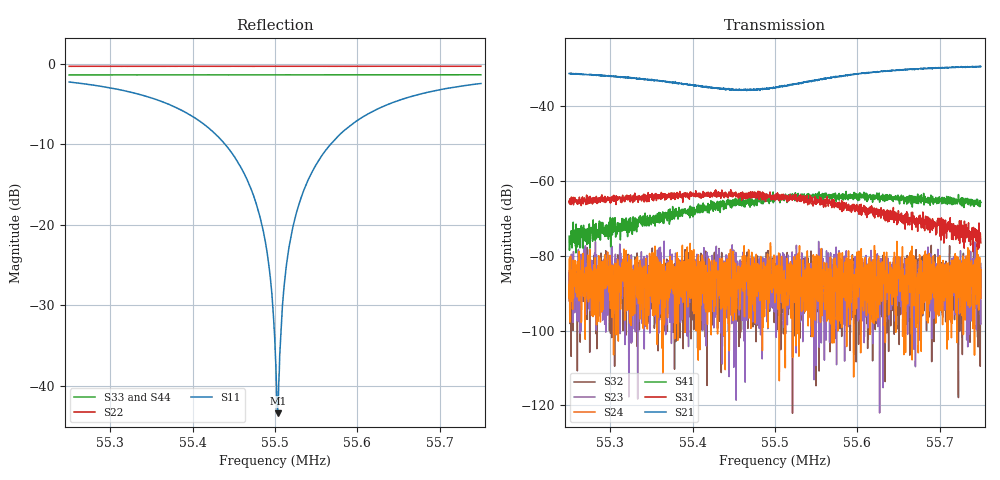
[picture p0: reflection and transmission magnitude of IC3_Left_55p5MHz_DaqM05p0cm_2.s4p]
#  HZ  S  DB  R  50.00
! Rohde & Schwarz Vector Network Analyzer
! Rohde-Schwarz,ZNB8-4Port,1311601044102961,2.82
! Created: UTC 2/13/2019, 9:23:45 AM
! freq[Hz]  db:S11  ang:S11  db:S12  ang:S12  db:S13  ang:S13  db:S14  ang:S14
!  db:S21  ang:S21  db:S22  ang:S22  db:S23  ang:S23  db:S24  ang:S24
!  db:S31  ang:S31  db:S32  ang:S32  db:S33  ang:S33  db:S34  ang:S34
!  db:S41  ang:S41  db:S42  ang:S42  db:S43  ang:S43  db:S44  ang:S44
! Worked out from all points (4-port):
!   2001 points, 55.25 MHz to 55.75 MHz, reference 50 ohm
!   strongest paths, dB at 55.25 MHz, 55.375 MHz, 55.5 MHz, 55.625 MHz, 55.75 MHz:
!     S21: -31.2, -33.6, -35.0, -30.8, -29.3
!     S31: -65.8, -64.2, -65.0, -69.5, -76.5
!     S41: -74.8, -70.2, -64.4, -65.0, -65.7
!     S24: -87.7, -85.0, -86.7, -96.5, -91.4
!     S23: -86.3, -79.5, -88.5, -98.9, -82.0
!     S32: -92.0, -88.8, -84.3, -93.3, -83.7
!   lowest |S11| = -43.4 dB at 55.5033 MHz (marker M1), VSWR 1.01, Z = 49.6 - j0.575 ohm
!   |S11| at or under -10 dB: 55.43935 MHz to 55.5675 MHz (128.1 kHz wide, 0.231 % of centre)
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5.525e7  -2.27 -141.8  -31.17 70.5  -65.18 -153.7  -72.74 0.5
         -31.23 71.4  -0.32 94.2  -86.33 147.5  -87.74 47.1
         -65.81 -153.1  -92.03 108.2  -1.39 34.9  -89.69 -30.0
         -74.75 -14.0  -87.04 106.8  -95.98 21.5  -1.38 28.5
5.544925e7  -11.33 169.2  -35.49 79.4  -63.99 161.8  -65.60 -45.4
            -35.44 79.3  -0.32 90.6  -80.48 -40.3  -97.28 -147.0
            -64.14 159.0  -87.48 22.0  -1.38 32.5  -87.80 179.9
            -65.03 -35.2  -83.70 60.1  -84.05 115.1  -1.37 26.0
5.548675e7  -21.31 158.6  -35.31 91.6  -63.58 148.3  -64.49 -62.3
            -35.19 91.3  -0.32 89.9  -83.01 -62.2  -85.37 16.2
            -63.28 146.2  -84.43 74.3  -1.38 32.1  -82.99 126.2
            -64.50 -47.7  -86.12 -147.0  -83.76 -64.4  -1.37 25.6
5.550325e7  -43.38 -121.2  -34.82 95.8  -64.11 147.2  -65.11 -57.2
            -34.77 96.4  -0.32 89.6  -85.88 -64.7  -83.76 -60.3
            -63.96 144.7  -85.50 60.2  -1.38 31.9  -87.45 -68.9
            -64.51 -64.8  -91.39 -19.2  -88.55 -77.7  -1.38 25.4
5.551925e7  -21.48 -43.1  -34.15 98.3  -66.06 139.7  -64.37 -61.4
            -34.23 99.2  -0.32 89.3  -83.46 -160.8  -82.19 24.1
            -64.87 139.2  -92.80 142.3  -1.38 31.7  -104.65 -45.7
            -64.84 -60.0  -82.77 59.4  -91.94 79.8  -1.37 25.2
5.55565e7  -11.47 -53.7  -32.80 101.2  -66.00 130.4  -63.65 -74.0
           -32.72 102.1  -0.31 88.6  -79.87 -40.7  -89.44 42.1
           -65.06 129.4  -84.04 134.6  -1.38 31.2  -88.76 43.7
           -64.19 -75.8  -89.72 -91.5  -88.03 -2.8  -1.37 24.7
5.575e7  -2.45 -101.8  -29.32 84.6  -75.33 106.5  -66.46 -119.5
         -29.34 84.3  -0.31 85.2  -82.04 141.7  -91.40 -58.4
         -76.49 102.2  -83.75 -167.3  -1.37 28.9  -88.53 23.3
         -65.66 -120.7  -80.87 30.0  -92.39 -33.2  -1.37 22.3
